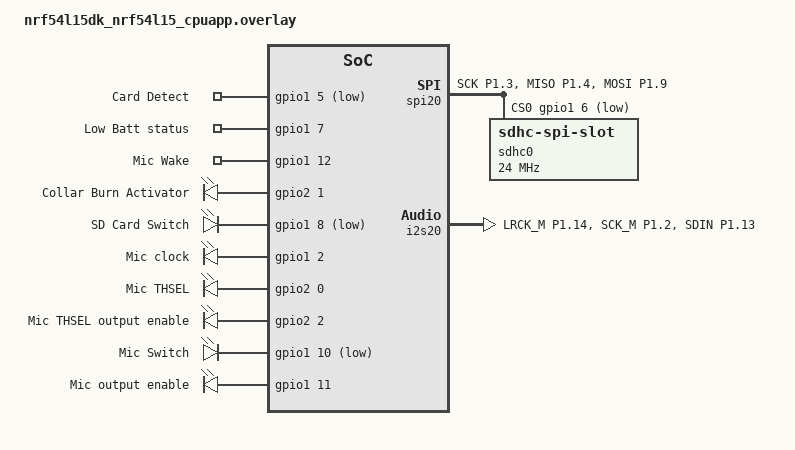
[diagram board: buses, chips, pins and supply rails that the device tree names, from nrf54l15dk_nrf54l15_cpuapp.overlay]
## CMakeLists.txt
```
# SPDX-License-Identifier: Apache-2.0

cmake_minimum_required(VERSION 3.20.0)

# set(LIB_DIR ${CMAKE_CURRENT_SOURCE_DIR}/packages/lib)

find_package(Zephyr REQUIRED HINTS $ENV{ZEPHYR_BASE})
project(nrf_monkey)

# defining some environmental variables
if(CMAKE_HOST_SYSTEM MATCHES "Linux")
    message("==========  Linux   =========")
elseif(CMAKE_HOST_SYSTEM MATCHES "Darwin")
    message("==========  APPLE  =========")
elseif(CMAKE_HOST_SYSTEM MATCHES "Windows")
    message("========== Windows =========")
endif()

# Source code
target_sources(app PRIVATE src/main.c)
target_sources(app PRIVATE src/hal/gpio_hal.c)
target_sources(app PRIVATE src/utils/tools.c)
target_sources(app PRIVATE src/storage/flash.c)
target_sources(app PRIVATE src/ble/sig_dis.c)
target_sources(app PRIVATE src/microphone/t5848.c)
# target_sources(app PRIVATE src/storage/nvs_flash.c)
target_sources_ifdef(CONFIG_FILE_SYSTEM app PRIVATE src/fatfs/sdcard.c)
target_sources_ifdef(CONFIG_I2S app PRIVATE src/audio/recorder.c)
target_sources_ifdef(CONFIG_BT app PRIVATE src/ble/ble_handler.c)
target_sources_ifdef(CONFIG_BT_SNES_SRV app PRIVATE src/ble/snes.c)
target_sources_ifdef(CONFIG_BT_CTS_CLIENT app PRIVATE src/ble/sig_cts.c)
target_sources_ifdef(CONFIG_BT_PROXIMITY_MONITORING app PRIVATE src/ble/ble_proximity.c)
```

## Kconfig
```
menu "nRF-Monkey"

# I2S related
config I2S_SAMPLE_FREQUENCY
    int "I2S Sampling Frequency"
    default 16000

config I2S_SAMPLE_FREQUENCY_DIVIDER
    int "I2S Sampling Frequency Divider"
    default 10

config I2S_SAMPLE_BIT_WIDTH
    int "I2S Sample BIT width"
    default 24

config I2S_BYTES_PER_SAMPLE
    int "I2S Bytes per Sample"
    default 4

config I2S_NUMBER_OF_CHANNELS
    int "Number of channel"
    default 1

config I2S_INITIAL_BLOCKS
    int "Number of initial blocks"
    default 2

config I2S_TIMEOUT
    int "I2S timeout [ms]"
    default 1000

config I2S_MIC_INPUT_GAIN
    int "Input gain"
    default 1

config I2S_MIC_INPUT_DIVIDER
    int "Input gain divier"
    default 1

config I2S_RECORD_AUTO_START
    bool "Start to record automatically at boot time"
    default y

# Microphone related
# AAD A configuration
config MIC_AAD_A_SELECT
    hex "AAD A select mode"
    default 0x08

config MIC_AAD_A_LPF
    hex "AAD A Low Pass Filter"
    default 0x02

config MIC_AAD_A_TH
    hex "AAD A Threshold"
    default 0x0A

# AAD D configuration
config MIC_AAD_D_SELECT
    hex "AAD D Select Mode"
    default 0x01

config MIC_AAD_D_ALGO_SEL
    hex "AAD D Algorithm Selection"
    default 0x03

config MIC_AAD_D_FLOOR
    hex "AAD D Noise Floor"
    default 0xA0

config MIC_AAD_D_REL_PULSE_MIN
    hex "AAD D Relative Pulse Min"
    default 0xC8

config MIC_AAD_D_ABS_PULSE_MIN
    hex "AAD D Absolute Pulse Min"
    default 0x7D0

config MIC_AAD_D_REL_TH
    hex "AAD D Relative Threshold"
    default 0x8F

config MIC_AAD_D_ABS_TH
    hex "AAD D Absolute Threshold"
    default 0x1E0

config MIC_RECORDING_TAIL_MSEC
    int "Microphone recording tail in [ms]"
    default 10000

# SD Card storage related
config STORAGE_SAMPLE_BIT_WIDTH
    int "Sample BIT width for storage"
	default 16

config STORAGE_BYTES_PER_SAMPLE
    int "Bytes used per Sample for storage"
	default 3

config STORAGE_CD_DEBOUNCE_MS
    int "Deboucer delay in [ms]"
    default 30

config STORAGE_TIME_DIFF_THRESHOLD
    int "Difference in second to open a new file"
    default 3600

config STORAGE_MOUNT_POINT
    string "Name of the Fatfs mount point"
    default "/SD:"

config STORAGE_DISK_POINTER_NAME
    string "Fatfs disk pointer name"
    default "SD"

config RECORDER_STORAGE_FILE_NAME
    string "Name of the file where the audio samples are stored"
    default "rec"

config PROXIMITY_STORAGE_FILE_NAME
    string "Name of the file where the proximity samples are stored"
    default "prox"

config STORAGE_FILE_EXTENSION
    string "Extension of the file name"
    default "dat"

config STORAGE_LIST_FILES_ON_CARD
    bool "Will list all files and folders on SD Card when mounted"
    default n

config STORAGE_USE_SDHC_NODE_FEATURE
    bool "Try to use fatfs functionality for SD Card detection"
    default n


#BLE GAP CONFIGURATION
config BT_MIN_CONN_INTERVAL
    int "Minimum Connection Interval (N * 1.25 ms)"
    default 495

config BT_MAX_CONN_INTERVAL
    int "Maximum Connection Interval (N * 1.25 ms)"
    default 750

config BT_SLAVE_LATENCY
    int "Connection Latency"
    default 0

config BT_SUPERVISION_TIMEOUT
    int "Supervision Timeout (N * 10 ms)"
    default 4

# BLE
config BT_SNES_SRV
    bool "BLE Hei Sync Service"
    default n
    help
      Enable HEI Sync service.

config BT_ADV_SNES_SRV_UUID
    bool "SNES UUID in scan response"
    default n

config BT_SNES_AUTHEN
    bool "Require encryption and authentication for access"
    depends on BT_SMP
    help
      Enable encrypted and authenticated connection requirements for HEI Sync service.

config BT_SNES_THREAD_STACK_SIZE
	int "Thread stack size"
	default 1024
	help
	  Stack size used in each of the two threads

config BT_SECURITY_USE_PASSKEY
	bool "Security uses passkey"
	default n

config BT_SNES_BUFFER_SIZE
    int "Buffer size to receive data"
    default 244

config BT_USE_USER_DESCRIPTION
    bool "Adding user description to characteristic"
    default n

config BT_ADV_INTERVAL_MS
    int "BLE Advertising interval in [ms]"
    default 300

# BLE
config BT_PROXIMITY_MONITORING
    bool "Enable proximity monitoring service"
    default y
    
config BT_SCAN_INTERVAL_MS
    int "BLE Scan interval in [ms]"
    depends on BT_PROXIMITY_MONITORING
    default 60000

config BT_SCAN_WINDOW_MS
    int "BLE Scan window in [ms]"
    depends on BT_PROXIMITY_MONITORING
    default 1400

config BT_PROXIMITY_ENABLE_AUDIO_SAVING
    bool "Enable audio saving when a device is detected"
    depends on BT_PROXIMITY_MONITORING
    default n

config BT_PROXIMITY_ENABLE_AUDIO_RSSI_MIN
    int "Minimum RSSI to enable audio saving"
    depends on BT_PROXIMITY_MONITORING
    default -50

config BT_PROXIMITY_STORAGE_BUFFER_SIZE
    int "Number of entries in proximity storage buffer"
    depends on BT_PROXIMITY_MONITORING
    default 512

config BT_PROXIMITY_FLUSH_TIMEOUT_MIN
    int "Timeout in [min] to flush proximity data to SD card"
    depends on BT_PROXIMITY_MONITORING
    default 10

# General configuration
config HOT_RESET_VAL
    int "Hot Reset delault value 0xa5"
    default 165

config GENERIC_GPIO_DEBOUNCE_MS
    int "Debouncer delay in [ms]"
    default 30

config LOW_BATT_GPIO_DEBOUNCE_MS
    int "Debouncer delay for low batt GPIO in [ms]"
    default 2000

config COLLAR_BURN_DELAY_IN_SEC
    int "Delay in sec for burning the nylon wire"
    default 5

config COMPILE_FOR_MONKEY_PCB
    bool "If it's for the dedicated Monkey PCB"
    default n

config START_UP_DELAY_MS
    int "Waiting time in [ms] at sart up"
    default 1500

config MAIN_THREAD_INITIALIZED_DELAY_MS
    int "Sleep polling delay waiting for main thread initialized in [ms]"
    default 100

config DELAY_ON_HARDWARE_POWERED_ON
    int "Delay to be sure that all threads have detected the power on hardware, in [ms]"
    default 2000

config DEVICE_IDENTIFIER_FROM_NVS
    bool "Getting the device identitifer from flash memory"
    default n

# DEBUG level settings
config BLE_LOG_LEVEL
    int "Default LOG level for BLE stuff"
    default 1

config BLE_PROXIMITY_LOG_LEVEL
    int "Default LOG level for BLE proximity monitoring"
    default 1

config BT_SNES_LOG_LEVEL
    int "Default LOG level for BLE HSS Private service"
    default 1

config BT_CTS_LOG_LEVEL
    int "Default LOG level for SIG CTS service (Time Service)"
    default 1

# config BT_DIS_LOG_LEVEL
#     int "Default LOG level for SIG DIS service (Device Information Service)"
#     default 1

config SD_CARD_LOG_LEVEL
    int "Default LOG level for SD CArd and FATfs"
    default 1

config RECORDER_LOG_LEVEL
    int "Default LOG level for recorder and I2S"
    default 1

config GPIO_HAL_LOG_LEVEL
    int "Default LOG level for HAL gpio"
    default 1

config MAIN_LOG_LEVEL
    int "Default LOG level for main entry point"
    default 1

config FLASH_LOG_LEVEL
    int  "Default LOG level for flash storage"
    default 1

config TOOLS_LOG_LEVEL
    int  "Default LOG level for tools library"
    default 1

config T5848_LOG_LEVEL
    int  "Default LOG level for T5848 microphone"
    default 1

endmenu

menu "Zephyr Kernel"
source "Kconfig.zephyr"
endmenu
```

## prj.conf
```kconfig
#sdcard - SDMMC
# CONFIG_DISK_DRIVER_SDMMC=y
CONFIG_DISK_ACCESS=y
CONFIG_FILE_SYSTEM=y
CONFIG_FAT_FILESYSTEM_ELM=y
CONFIG_SDHC=y
CONFIG_FS_FATFS_HAS_RTC=y

# GPIO's related
CONFIG_GPIO=y

# Lib c
CONFIG_NEWLIB_LIBC=n
CONFIG_MINIMAL_LIBC=y
CONFIG_POSIX_API=y
CONFIG_POSIX_CLOCK=y

CONFIG_CBPRINTF_FP_SUPPORT=y

# Stack and Heap - Not used for this project
# CONFIG_MAIN_STACK_SIZE=16384
# CONFIG_MAIN_STACK_SIZE=24576
#CONFIG_HEAP_MEM_POOL_SIZE=8192
CONFIG_HEAP_MEM_POOL_SIZE=4096
# CONFIG_NEWLIB_LIBC_MIN_REQUIRED_HEAP_SIZE=2048

# I2S interface
CONFIG_I2S=y
CONFIG_I2S_SAMPLE_FREQUENCY=16000
CONFIG_I2S_MIC_INPUT_GAIN=3
CONFIG_I2S_MIC_INPUT_DIVIDER=2
CONFIG_STORAGE_BYTES_PER_SAMPLE=2
CONFIG_I2S_RECORD_AUTO_START=y

# Microphone config
CONFIG_MIC_AAD_A_LPF=0x02
CONFIG_MIC_AAD_A_TH=0x0A
CONFIG_MIC_AAD_D_ALGO_SEL=0x03
CONFIG_MIC_AAD_D_FLOOR=0xA0
CONFIG_MIC_AAD_D_REL_PULSE_MIN=0xC8
CONFIG_MIC_AAD_D_ABS_PULSE_MIN=0x7D0
CONFIG_MIC_AAD_D_REL_TH=0x8F
CONFIG_MIC_AAD_D_ABS_TH=0x1E0
CONFIG_MIC_RECORDING_TAIL_MSEC=10000



# SD Card
# CONFIG_STORAGE_TIME_DIFF_THRESHOLD=600
# CONFIG_STORAGE_FILE_NAME="test"

# BLE Configuration
CONFIG_BT=y
CONFIG_BT_PERIPHERAL=y
CONFIG_BT_CENTRAL=y
CONFIG_BT_COMPANY_ID=0x025A
CONFIG_BT_DEVICE_NAME="Speak No Evil 53"
CONFIG_BT_DEVICE_NAME_DYNAMIC=y
CONFIG_BT_DEVICE_NAME_MAX=18
CONFIG_BT_DEVICE_APPEARANCE=128
# CONFIG_BT_USE_USER_DESCRIPTION=y
CONFIG_BT_MAX_CONN=1
CONFIG_BT_MAX_PAIRED=1

CONFIG_BT_SMP=n
CONFIG_BT_GATT_CLIENT=y
CONFIG_BT_GATT_DM=y
CONFIG_BT_GATT_DM_DATA_PRINT=n

CONFIG_BT_SCAN=y
CONFIG_BT_SCAN_FILTER_ENABLE=y
CONFIG_BT_SCAN_MANUFACTURER_DATA_CNT=1

# BLE proximity monitoring
CONFIG_BT_PROXIMITY_MONITORING=y
CONFIG_BT_SCAN_WINDOW_MS=1400
CONFIG_BT_SCAN_INTERVAL_MS=60000
CONFIG_BT_ADV_INTERVAL_MS=300
CONFIG_BT_PROXIMITY_ENABLE_AUDIO_SAVING=n
CONFIG_BT_PROXIMITY_ENABLE_AUDIO_RSSI_MIN=-50

# Enable bonding
CONFIG_BT_SETTINGS=y
CONFIG_FLASH=y
CONFIG_FLASH_PAGE_LAYOUT=y
CONFIG_FLASH_MAP=y
CONFIG_NVS=y
CONFIG_SETTINGS=y
CONFIG_SETTINGS_NVS=y
# CONFIG_SETTINGS_NVS_SECTOR_COUNT=8
# CONFIG_PARTITION_MANAGER_ENABLED=y

# BT DEBUG
# CONFIG_BT_DEBUG_LOG=y

# Enable CTS client
# CONFIG_BT_CTS_CLIENT=n

# SNES Private Service
CONFIG_BT_SNES_SRV=y
CONFIG_BT_SNES_THREAD_STACK_SIZE=4096
# CONFIG_BT_SNES_BUFFER_SIZE=244
# CONFIG_NVS=y

# DIS - Device Information Service (Adopted SIG)

CONFIG_BT_DIS=y
CONFIG_BT_DIS_PNP=n
CONFIG_BT_DIS_MODEL="Speak No Evil"
CONFIG_BT_DIS_MANUF="HEI, Sion"
CONFIG_BT_DIS_SERIAL_NUMBER=n
CONFIG_BT_DIS_FW_REV=y
CONFIG_BT_DIS_HW_REV=y
CONFIG_BT_DIS_SW_REV=n
# CONFIG_BT_DIS_SERIAL_NUMBER_STR="Zephyr Serial"
# CONFIG_BT_DIS_FW_REV_STR="Zephyr Firmware"
# CONFIG_BT_DIS_HW_REV_STR="Zephyr Hardware"
# CONFIG_BT_DIS_SW_REV_STR="Zephyr Software"

# Below is setup to let DIS information be read from settings
CONFIG_SETTINGS_RUNTIME=y
CONFIG_SETTINGS_NONE=y

CONFIG_BT_DIS_SETTINGS=y
# CONFIG_BT_DIS_STR_MAX=21

# Power mamangement
CONFIG_PM=y
CONFIG_PM_DEVICE=y

# Monkey Collar
# CONFIG_COLLAR_BURN_DELAY_IN_SEC=2

# Using Monkey PCB Hardware
CONFIG_COMPILE_FOR_MONKEY_PCB=y

# List all files and folder on SD Card
# CONFIG_STORAGE_LIST_FILES_ON_CARD=y

# NFC Pins as GPIOs
CONFIG_NFCT_PINS_AS_GPIOS=y
# CONFIG_NFC_NDEF=n

# Debounce default delay
# CONFIG_GENERIC_GPIO_DEBOUNCE_MS=2000

# Debounce specific delay for Low Batt detection
CONFIG_LOW_BATT_GPIO_DEBOUNCE_MS=11000

# Delay to be sure that all threads have detected the power on hardware, in [ms]
CONFIG_DELAY_ON_HARDWARE_POWERED_ON=1000

# Dynamic PinCtrl configuration
# CONFIG_PINCTRL_DYNAMIC=y

# The device identifier (used in advertised name) is readen from FLASH memory
CONFIG_DEVICE_IDENTIFIER_FROM_NVS=y


# ********************************************** #
# DEBUG settings - Change CONFIG_below to y to activate DEBUG
# ********************************************** #
CONFIG_DEBUG=n
CONFIG_DEBUG_THREAD_INFO=n
CONFIG_DEBUG_OPTIMIZATIONS=n
# CONFIG_DEBUG_INFO=y
# CONFIG_DEBUG_COREDUMP=n
# CONFIG_DEBUG_COREDUMP_MEMORY_DUMP_MIN=y
# CONFIG_DEBUG_COREDUMP_MEMORY_DUMP_LINKER_RAM=n


# ********************************************** #
# Zephyr/nrf log configuration                   #
# 0 -> off, 1 -> err, 2 ->wrn, 3 -> inf, 4 ->dbg #
# ********************************************** #
# DEBUG LOG LEVEL
CONFIG_BLE_LOG_LEVEL=3
CONFIG_BLE_PROXIMITY_LOG_LEVEL=3
CONFIG_BT_SNES_LOG_LEVEL=2
CONFIG_BT_CTS_LOG_LEVEL=2
CONFIG_SD_CARD_LOG_LEVEL=3
CONFIG_RECORDER_LOG_LEVEL=3
CONFIG_GPIO_HAL_LOG_LEVEL=2
CONFIG_MAIN_LOG_LEVEL=3
CONFIG_FLASH_LOG_LEVEL=3
CONFIG_T5848_LOG_LEVEL=3

# Enable/Disable LOG trace
CONFIG_LOG=n
CONFIG_CONSOLE=n
CONFIG_PRINTK=n

CONFIG_LOG_BACKEND_SHOW_COLOR=y
CONFIG_LOG_INFO_COLOR_GREEN=y
CONFIG_LOG_MODE_DEFERRED=y
# CONFIG_LOG_MODE_OVERFLOW=y
CONFIG_LOG_BUFFER_SIZE=8192


# RTT logging
# To enable RTT Logging, set CONFIG_RTT_CONSOLE to y and to n to disable it
CONFIG_RTT_CONSOLE=n
CONFIG_USE_SEGGER_RTT=n
CONFIG_LOG_BACKEND_RTT=n


CONFIG_SEGGER_RTT_BUFFER_SIZE_DOWN=64
CONFIG_SEGGER_RTT_MAX_NUM_DOWN_BUFFERS=2
CONFIG_SEGGER_RTT_BUFFER_SIZE_UP=8192
CONFIG_SEGGER_RTT_MAX_NUM_UP_BUFFERS=2

# UART Logging definitions
# To enable UART Logging, set both CONFIG_SERIAL & CONFIG_UART_CONSOLE to y
CONFIG_UART_CONSOLE=n
CONFIG_LOG_BACKEND_UART=n

# Bootloader settings
CONFIG_BOOTLOADER_MCUBOOT=n

CONFIG_SPI_NOR=n
CONFIG_SPI_NOR_SFDP_DEVICETREE=n
CONFIG_SPI_NOR_SFDP_RUNTIME=n

CONFIG_FLASH=y
CONFIG_SOC_FLASH_NRF_RRAM=y
```

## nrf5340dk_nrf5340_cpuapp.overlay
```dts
// To get started, press Ctrl+Space (or Option+Esc) to bring up the completion menu and view the available nodes.

// You can also use the buttons in the sidebar to perform actions on nodes.
// Actions currently available include:

// * Enabling / disabling the node
// * Adding the bus to a bus
// * Removing the node
// * Connecting ADC channels

// For more help, browse the DeviceTree documentation at https://docs.zephyrproject.org/latest/guides/dts/index.html
// You can also visit the nRF DeviceTree extension documentation at https://nrfconnect.github.io/vscode-nrf-connect/devicetree/nrfdevicetree.html


// ---------- Disable unused hardware ----------
&button0 {
	status = "disabled";
};
&button1 {
	status = "disabled";
};
&button2 {
	status = "disabled";
};
&button3 {
	status = "disabled";
};

&led0 {
	status = "disabled";
};
&led1 {
	status = "disabled";
};
&led2 {
	status = "disabled";
};
&led3 {
	status = "disabled";
};

&pwm_led0 {
	status = "disabled";
};


&gpio_fwd {
	uart {
		status = "disabled";
	};
	status = "disabled";
};


&adc {
	status = "disabled";
};

&gpiote {
	status = "disabled";
};

&i2c1 {
	status = "disabled";
};

&uart0 {
	status = "disabled";
};

&uart1 {
	status = "disabled";
};

&ieee802154 {
	status = "disabled";
};

&pwm0 {
	status = "disabled";
};

&qspi {
	status = "disabled";
};

&timer0 {
	status = "disabled";
};

&timer1 {
	status = "disabled";
};

&timer2 {
	status = "disabled";
};

&usbd {
	status = "disabled";
};


// ---------- Define GPIOs & Hardware used ----------
&pinctrl {

	// ----- pinctrl for PCA10095 board (nRF5340 DK) -----
    // spi4_default: spi4_default {
    //     group1 {
    //         psels = <NRF_PSEL(SPIM_SCK,  1, 12)>,
    //                 <NRF_PSEL(SPIM_MISO, 1, 13)>,
    //                 <NRF_PSEL(SPIM_MOSI, 1, 11)>;
    //     };
    // };

	// spi4_sleep: spi4_sleep {
	// 	group1 {
    //         psels = <NRF_PSEL(SPIM_SCK,  1, 12)>,
    //                 <NRF_PSEL(SPIM_MISO, 1, 13)>,
    //                 <NRF_PSEL(SPIM_MOSI, 1, 11)>;
	// 		low-power-enable;
	// 	};
	// };

	// ----- pinctrl for Monkey PCB -----
    spi4_default: spi4_default {
        group1 {
            psels = <NRF_PSEL(SPIM_SCK,  1, 6)>,
                    <NRF_PSEL(SPIM_MISO, 0, 26)>,
                    <NRF_PSEL(SPIM_MOSI, 1, 4)>;
        };
    };

	spi4_sleep: spi4_sleep {
		group1 {
            psels = <NRF_PSEL(SPIM_SCK,  1, 6)>,
                    <NRF_PSEL(SPIM_MISO, 0, 26)>,
                    <NRF_PSEL(SPIM_MOSI, 1, 4)>;
			low-power-enable;
		};
	};

	// ----- pinctrl for PCA10095 board (nRF5340 DK) -----
	// i2s0_default: i2s0_default {
	// 	group1 {
	// 		psels = <NRF_PSEL(I2S_SCK_M,  1, 2)>,
	// 				<NRF_PSEL(I2S_LRCK_M, 0, 6)>,
	// 				<NRF_PSEL(I2S_SDIN,   0, 5)>,
	// 				<NRF_PSEL(I2S_SDOUT,  0, 25)>;
	// 	};
	// };

	// i2s0_sleep: i2s0_sleep {
	// 	group1 {
	// 		psels =	<NRF_PSEL(I2S_SCK_M,  1, 2)>,
	// 				<NRF_PSEL(I2S_LRCK_M, 0, 6)>,
	// 				<NRF_PSEL(I2S_SDIN,   0, 5)>,
	// 				<NRF_PSEL(I2S_SDOUT,  0, 25)>;
	// 		low-power-enable;
	// 	};
	// };

	// ----- pinctrl for Monkey PCB -----
	i2s0_default: i2s0_default {
		group1 {
			psels = <NRF_PSEL(I2S_SCK_M,  1, 2)>,
					<NRF_PSEL(I2S_LRCK_M, 0, 2)>,
					<NRF_PSEL(I2S_SDIN,   0, 3)>;
					// <NRF_PSEL(I2S_SDOUT,  0, 25)>;
		};
	};

	i2s0_sleep: i2s0_sleep {
		group1 {
			psels =	<NRF_PSEL(I2S_SCK_M,  1, 2)>,
					<NRF_PSEL(I2S_LRCK_M, 0, 2)>,
					<NRF_PSEL(I2S_SDIN,   0, 3)>;
			// 		<NRF_PSEL(I2S_SDOUT,  0, 25)>;
			low-power-enable;
		};
	};
};

&spi4 {
    // compatible = "nordic,nrf-spim";
    status = "okay";

	// ----- pinctrl for PCA10095 board (nRF5340 DK) -----
    // cs-gpios = <&gpio1 10 GPIO_ACTIVE_LOW>;

	// ----- pinctrl for Monkey PCB -----
    cs-gpios = <&gpio0 19 GPIO_ACTIVE_LOW>;

	pinctrl-0 = <&spi4_default>;
    pinctrl-1 = <&spi4_sleep>;

    sdhc0: sdhc@0 {
        compatible = "zephyr,sdhc-spi-slot";
        reg = <0>;
        status = "okay";
        mmc {
            compatible = "zephyr,sdmmc-disk";
            status = "okay";
        };
        spi-max-frequency = <24000000>;
    };
};

&clock {
	hfclkaudio-frequency = <11289600>;
};

&flash0 {
	partitions {
		compatible = "fixed-partitions";
		#address-cells = <1>;
		#size-cells = <1>;

		/* 0xf0000 to 0xf7fff reserved for TF-M partitions */
		storage_partition: partition@f8000 {
			label = "storage";
			reg = <0x000f8000 0x00006000>;
		};
		user_partition: partition@fe000 {
			label = "user_storage";
			reg = <0x000fe000 0x00002000>;
		};
	};
};

i2s_rxtx: &i2s0 {
	compatible = "nordic,nrf-i2s";
	status = "okay";
	pinctrl-0 = <&i2s0_default>;
	pinctrl-1 = <&i2s0_sleep>;
	pinctrl-names = "default", "sleep";
	clock-source = "ACLK";
};

/ {
	monkey_gpios {
		compatible = "gpio-keys";
		
		// ----- pinctrl for PCA10095 board (nRF5340 DK) -----
		// cd: cd_0 {
		// 	gpios = <&gpio1 15 GPIO_ACTIVE_LOW>;
		// 	label = "Card Detect";
		// };

		// lb: low_batt_0 {
		// 	gpios = <&gpio1  9 (GPIO_ACTIVE_LOW)>;
		// 	label = "Low Batt status";
		// };

		// bc: burn_collar_0 {
		// 	gpios = <&gpio1  8 GPIO_ACTIVE_HIGH>;
		// 	label = "Collar Burn Activator";
		// };

		// sm: sd_mic_enable_0 {
		// 	gpios = <&gpio1  7 GPIO_ACTIVE_LOW>;
		// 	label = "SD Card & Mic Switch";
		// };

		// sel: i2s_sel_0 {
		// 	gpios = <&gpio0  7 GPIO_ACTIVE_HIGH>;
		// 	label = "I2S SEL Pin";
		// };

		// ----- pinctrl for Monkey PCB -----
		cd: cd_0 {
			gpios = <&gpio0 24 GPIO_ACTIVE_LOW>;
			label = "Card Detect";
		};

		lb: low_batt_0 {
			gpios = <&gpio1 13 GPIO_ACTIVE_HIGH>;
			label = "Low Batt status";
		};

		bc: burn_collar_0 {
			gpios = <&gpio0 21 GPIO_ACTIVE_HIGH>;
			label = "Collar Burn Activator";
		};

		sm: sd_mic_enable_0 {
			gpios = <&gpio0 16 GPIO_ACTIVE_LOW>;
			label = "SD Card & Mic Switch";
		};
	};

	aliases {
		cd0  = &cd;
		lb0  = &lb;
		bc0  = &bc;
		sm0  = &sm;
		// sel0 = &sel;
	};
};
```

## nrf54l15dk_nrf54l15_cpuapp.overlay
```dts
// To get started, press Ctrl+Space (or Option+Esc) to bring up the completion menu and view the available nodes.

// You can also use the buttons in the sidebar to perform actions on nodes.
// Actions currently available include:

// * Enabling / disabling the node
// * Adding the bus to a bus
// * Removing the node
// * Connecting ADC channels

// For more help, browse the DeviceTree documentation at https://docs.zephyrproject.org/latest/guides/dts/index.html
// You can also visit the nRF DeviceTree extension documentation at https://nrfconnect.github.io/vscode-nrf-connect/devicetree/nrfdevicetree.html


// ---------- Disable unused hardware ----------
&button0 {
	status = "disabled";
};
&button1 {
	status = "disabled";
};
&button2 {
	status = "disabled";
};
&button3 {
	status = "disabled";
};

&led0 {
	status = "disabled";
};
&led1 {
	status = "disabled";
};
&led2 {
	status = "disabled";
};
&led3 {
	status = "disabled";
};

&pwm_led1 {
	status = "disabled";
};

&adc {
	status = "disabled";
};

&i2c20 {
	status = "disabled";
};

&i2c21 {
	status = "disabled";
};

&uart20 {
	status = "disabled";
};

&uart30 {
	status = "disabled";
};

&ieee802154 {
	status = "disabled";
};

&pwm20 {
	status = "disabled";
};

&timer00 {
	status = "disabled";
};

&timer10 {
	status = "disabled";
};

&timer20 {
	status = "disabled";
};

&nfct {
    status = "disabled";
};

// ---------- Enable hardware ----------
&uicr {
    nfct-pins-as-gpios;
}; 

&gpio1 {
    status = "okay";
};

&gpio2 {
    status = "okay";
};

// ---------- Define GPIOs & Hardware used ----------
// SPI (SD card)
&spi20 {
    status = "okay";
    compatible = "nordic,nrf-spim";
    pinctrl-0 = <&spi20_default>;
    pinctrl-1 = <&spi20_sleep>;
    pinctrl-names = "default", "sleep";
    cs-gpios = <&gpio1 6 GPIO_ACTIVE_LOW>; // SD_nCS
	sdhc0: sdhc@0 {
		compatible = "zephyr,sdhc-spi-slot";
		reg = <0>;
		status = "okay";
		mmc {
			compatible = "zephyr,sdmmc-disk";
			disk-name = "SD";
			status = "okay";
		};
		spi-max-frequency = <24000000>;
	};
};

// I2s (microphone)
i2s_rxtx: &i2s20 {
	compatible = "nordic,nrf-i2s";
	status = "okay";
	pinctrl-0 = <&i2s20_default>;
	pinctrl-1 = <&i2s20_sleep>;
	pinctrl-names = "default", "sleep";
};

&pinctrl {

	// ----- pinctrl for PCA10156 board (nRF54L15-DK) -----
	// spi20_default: spi20_default {
    //     group1 {
    //         psels = <NRF_PSEL(SPIM_SCK,  1, 4)>,
    //                 <NRF_PSEL(SPIM_MOSI, 1, 3)>,
    //                 <NRF_PSEL(SPIM_MISO, 1, 5)>;
    //     };
    // };

    // spi20_sleep: spi20_sleep {
    //     group1 {
    //         psels = <NRF_PSEL(SPIM_SCK,  1, 4)>,
    //                 <NRF_PSEL(SPIM_MOSI, 1, 3)>,
    //                 <NRF_PSEL(SPIM_MISO, 1, 5)>;
    //         low-power-enable;
    //     };
    // };

	// ----- pinctrl for Monkey PCB -----
	spi20_default: spi20_default {
        group1 {
            psels = <NRF_PSEL(SPIM_SCK,  1, 3)>,	// SD_SCK
                    <NRF_PSEL(SPIM_MISO, 1, 4)>,	// SD_MISO
					<NRF_PSEL(SPIM_MOSI, 1, 9)>;	// SD_MOSI
        };
    };

    spi20_sleep: spi20_sleep {
        group1 {
            psels = <NRF_PSEL(SPIM_SCK,  1, 3)>,	// SD_SCK
                    <NRF_PSEL(SPIM_MISO, 1, 4)>,	// SD_MISO
					<NRF_PSEL(SPIM_MOSI, 1, 9)>;	// SD_MOSI
            low-power-enable;
        };
    };

	// ----- pinctrl for PCA10156 board (nRF54L15-DK) -----
	// i2s20_default: i2s20_default {
    //     group1 {
    //         psels = <NRF_PSEL(I2S_LRCK_M, 1, 11)>,
    //                 <NRF_PSEL(I2S_SCK_M, 1, 12)>,
    //                 <NRF_PSEL(I2S_SDOUT, 2, 0)>,
    //                 <NRF_PSEL(I2S_SDIN, 1, 13)>; 
                    
    //     };
    // };

	// i2s20_sleep: i2s20_sleep {
	// 	group1 {
    //         psels = <NRF_PSEL(I2S_LRCK_M, 1, 11)>,
    //                 <NRF_PSEL(I2S_SCK_M, 1, 12)>,
    //                 <NRF_PSEL(I2S_SDOUT, 2, 0)>,
    //                 <NRF_PSEL(I2S_SDIN, 1, 13)>; 
	// 		low-power-enable;
	// 	};
	// };

	// ----- pinctrl for Monkey PCB -----
	i2s20_default: i2s20_default {
        group1 {
            psels = <NRF_PSEL(I2S_LRCK_M, 1, 14)>,	// MIC_WS
                    <NRF_PSEL(I2S_SCK_M, 1, 2)>,	// MIC_SCK  (for data transfer)
                    <NRF_PSEL(I2S_SDIN, 1, 13)>; 	// MIC_SDIN
                    
        };
    };

	i2s20_sleep: i2s20_sleep {
		group1 {
            psels = <NRF_PSEL(I2S_LRCK_M, 1, 14)>,	// MIC_WS
                    <NRF_PSEL(I2S_SCK_M, 1, 2)>,	// MIC_SCK  (for data transfer)
                    <NRF_PSEL(I2S_SDIN, 1, 13)>; 	// MIC_SDIN
			low-power-enable;
		};
	};
};

/ {
	// Inputs
	monkey_inputs {
		compatible = "gpio-keys";
		
		// ----- pinctrl for PCA10156 board (nRF54L15-DK) -----
		// cd: cd_0 {
		// 	gpios = <&gpio1 7 GPIO_ACTIVE_LOW>;
		// 	label = "Card Detect";
		// };

		// lb: low_batt_0 {
		// 	gpios = <&gpio1 13 GPIO_ACTIVE_HIGH>;
		// 	label = "Low Batt status";
		// };

		// wake: wake_0 {
        //     gpios = <&gpio1 14 GPIO_ACTIVE_HIGH>;
        //     label = "Mic Wake";
        // };

		// ----- pinctrl for Monkey PCB -----
		cd: cd_0 {
			gpios = <&gpio1 5 GPIO_ACTIVE_LOW>;		// SD_CD
			label = "Card Detect";
		};

		lb: low_batt_0 {
			gpios = <&gpio1 7 GPIO_ACTIVE_HIGH>;	// LOW_BATT
			label = "Low Batt status";
		};

		wake: wake_0 {
            gpios = <&gpio1 12 GPIO_ACTIVE_HIGH>;	// MIC_WAKE
            label = "Mic Wake";
        };
	};

	// Outputs
	monkey_outputs {
		compatible = "gpio-leds";
		
		// ----- pinctrl for PCA10156 board (nRF54L15-DK) -----
		// bc: burn_collar_0 {
		// 	gpios = <&gpio0 4 GPIO_ACTIVE_HIGH>;
		// 	label = "Collar Burn Activator";
		// };

        // sd: sd_enable_0 {
        //     gpios = <&gpio1 2 GPIO_ACTIVE_LOW>;
        //     label = "SD Card Switch";
        // };

		// clk: clk_0 {
		// 	gpios = <&gpio1 12 GPIO_ACTIVE_HIGH>;
		// 	label = "Mic clock";
		// };

        // thsel: thsel_0 {
        //     gpios = <&gpio1 10 GPIO_ACTIVE_HIGH>;
        //     label = "Mic THSEL";
        // };

		// mic: mic_enable_0 {
        //     gpios = <&gpio1 8 GPIO_ACTIVE_LOW>;
        //     label = "Mic Switch";
        // };

		// oe: mic_oe_0 {
        //     gpios = <&gpio1 9 GPIO_ACTIVE_HIGH>;
        //     label = "Mic output enable";
        // };

		// ----- pinctrl for Monkey PCB -----
		bc: burn_collar_0 {
			gpios = <&gpio2 1 GPIO_ACTIVE_HIGH>;	// BURN
			label = "Collar Burn Activator";
		};

        sd: sd_enable_0 {
            gpios = <&gpio1 8 GPIO_ACTIVE_LOW>;		// SD_EN
            label = "SD Card Switch";
        };

		clk: clk_0 {
			gpios = <&gpio1 2 GPIO_ACTIVE_HIGH>;	// MIC_CLK (for config)	
			label = "Mic clock";
		};

        thsel: thsel_0 {
            gpios = <&gpio2 0 GPIO_ACTIVE_HIGH>;	// MIC_THSEL
            label = "Mic THSEL";
        };

		thseloe: thsel_oe_0 {
            gpios = <&gpio2 2 GPIO_ACTIVE_HIGH>;	// MIC_OE_THSEL
            label = "Mic THSEL output enable";
        };

		mic: mic_enable_0 {
            gpios = <&gpio1 10 GPIO_ACTIVE_LOW>;	// MIC_EN
            label = "Mic Switch";
        };

		oe: mic_oe_0 {
            gpios = <&gpio1 11 GPIO_ACTIVE_HIGH>;	// MIC_OE
            label = "Mic output enable";
        };
	};

	aliases {
		cd0  = &cd;
		lb0  = &lb;
		bc0  = &bc;
		sd0  = &sd;
		clk0 = &clk;
        thsel0 = &thsel;
		thseloe0 = &thseloe;
        wake0 = &wake;
		mic0 = &mic;
		oe0 = &oe;
	};
};

// Remove SPI00 node
/delete-node/ &{/pin-controller/spi00_default/group1/};

&spi00 {
    /delete-property/ cs-gpios;
    status = "disabled";
};
```

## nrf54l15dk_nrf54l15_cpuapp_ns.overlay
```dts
// To get started, press Ctrl+Space (or Option+Esc) to bring up the completion menu and view the available nodes.

// You can also use the buttons in the sidebar to perform actions on nodes.
// Actions currently available include:

// * Enabling / disabling the node
// * Adding the bus to a bus
// * Removing the node
// * Connecting ADC channels

// For more help, browse the DeviceTree documentation at https://docs.zephyrproject.org/latest/guides/dts/index.html
// You can also visit the nRF DeviceTree extension documentation at https://nrfconnect.github.io/vscode-nrf-connect/devicetree/nrfdevicetree.html


// ---------- Disable unused hardware ----------
&button0 {
	status = "disabled";
};
&button1 {
	status = "disabled";
};
&button2 {
	status = "disabled";
};
&button3 {
	status = "disabled";
};

&led0 {
	status = "disabled";
};
&led1 {
	status = "disabled";
};
&led2 {
	status = "disabled";
};
&led3 {
	status = "disabled";
};

&pwm_led1 {
	status = "disabled";
};

&adc {
	status = "disabled";
};

// &gpiote {
// 	status = "disabled";
// };

// TODO
&i2c20 {
	status = "disabled";
};

&i2c21 {
	status = "disabled";
};

&uart20 {
	status = "disabled";
};

&uart30 {
	status = "disabled";
};

&ieee802154 {
	status = "disabled";
};

&pwm20 {
	status = "disabled";
};

// &qspi {
// 	status = "disabled";
// };

&timer00 {
	status = "disabled";
};

&timer10 {
	status = "disabled";
};

&timer20 {
	status = "disabled";
};

// &usbd {
// 	status = "disabled";
// };


// ---------- Define GPIOs & Hardware used ----------
&pinctrl {

	// ----- pinctrl for Monkey PCB -----
	spi20_default: spi20_default {
        group1 {
            psels = <NRF_PSEL(SPIM_SCK,  1, 11)>,
                    <NRF_PSEL(SPIM_MOSI, 1, 12)>,
                    <NRF_PSEL(SPIM_MISO, 1, 10)>;
        };
    };

    spi20_sleep: spi20_sleep {
        group1 {
            psels = <NRF_PSEL(SPIM_SCK,  1, 11)>,
                    <NRF_PSEL(SPIM_MOSI, 1, 12)>,
                    <NRF_PSEL(SPIM_MISO, 1, 10)>;
            low-power-enable;
        };
    };

	// ----- pinctrl for Monkey PCB -----
	i2s20_default: i2s20_default {
        group1 {
            psels = <NRF_PSEL(I2S_LRCK_M, 1, 8)>,
                    <NRF_PSEL(I2S_SCK_M, 1, 6)>,
                    //<NRF_PSEL(I2S_SDOUT, 1, 9)>,
                    <NRF_PSEL(I2S_SDIN, 1, 5)>; 
                    
        };
    };

	i2s20_sleep: i2s20_sleep {
		group1 {
            psels = <NRF_PSEL(I2S_LRCK_M, 1, 8)>,
                    <NRF_PSEL(I2S_SCK_M, 1, 6)>,
                    //<NRF_PSEL(I2S_SDOUT, 1, 9)>,
                    <NRF_PSEL(I2S_SDIN, 1, 5)>; 
			low-power-enable;
		};
	};
};

&spi20 {
    status = "okay";
    compatible = "nordic,nrf-spim";
    pinctrl-0 = <&spi20_default>;
    pinctrl-1 = <&spi20_sleep>;
    pinctrl-names = "default", "sleep";
    cs-gpios = <&gpio1 13 GPIO_ACTIVE_LOW>; // P1.13 - SD_nCS
	sdhc0: sdhc@0 {
		compatible = "zephyr,sdhc-spi-slot";
		reg = <0>;
		status = "okay";
		mmc {
			compatible = "zephyr,sdmmc-disk";
			disk-name = "SD";
			status = "okay";
		};
		spi-max-frequency = <24000000>;
	};
};

// &clock {
// 	hfclkaudio-frequency = <11289600>;
// };

&cpuapp_rram {
    partitions {
        compatible = "fixed-partitions";
        #address-cells = <1>;
        #size-cells = <1>;
        
        /* Redefine storage to be smaller to make room */
        storage_partition: partition@15c000 {
            label = "storage";
            reg = <0x15c000 0x6000>;  /* Reduce from 36KB to 24KB */
        };
        
        user_partition: partition@162000 {
            label = "user_storage";
            reg = <0x162000 0x2000>;  /* 8KB at 0x162000 */
        };
    };
};


i2s_rxtx: &i2s20 {
	compatible = "nordic,nrf-i2s";
	status = "okay";
	pinctrl-0 = <&i2s20_default>;
	pinctrl-1 = <&i2s20_sleep>;
	pinctrl-names = "default", "sleep";
	//clock-source = "ACLK";
};

/ {
	monkey_gpios {
		compatible = "gpio-keys";
		
		// ----- pinctrl for PCA10156 board (nRF54L15-DK) -----
		// cd: cd_0 {
		// 	gpios = <&gpio1 7 GPIO_ACTIVE_LOW>;
		// 	label = "Card Detect";
		// };

		// sm: sd_mic_enable_0 {
		// 	gpios = <&gpio1 2 GPIO_ACTIVE_LOW>;
		// 	label = "SD Card Switch";
		// };


		// ----- pinctrl for Monkey PCB -----
		cd: cd_0 {
			gpios = <&gpio1 14 GPIO_ACTIVE_LOW>;
			label = "Card Detect";
		};

		lb: low_batt_0 {
			gpios = <&gpio1 13 GPIO_ACTIVE_HIGH>;
			label = "Low Batt status";
		};

		bc: burn_collar_0 {
			gpios = <&gpio0 4 GPIO_ACTIVE_HIGH>;
			label = "Collar Burn Activator";
		};

        sm: sd_mic_enable_0 {
            gpios = <&gpio1 2 GPIO_ACTIVE_LOW>;
            label = "SD Card Switch";
        };
	};

	aliases {
		cd0  = &cd;
		lb0  = &lb;
		bc0  = &bc;
		sm0  = &sm;
		// sel0 = &sel;
	};
};
```

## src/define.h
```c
/*
 * Copyright (c) 2023 HESSO-VS, HEI Sion
 */

#ifndef _MAIN_DEFINE_H_
#define _MAIN_DEFINE_H_

#include <zephyr/kernel.h>
#include <zephyr/drivers/gpio.h>
#include <zephyr/fs/fs.h>
#include <zephyr/posix/time.h>
#include <ff.h>

#include <stdio.h>

// Gpios & Hardware handling
#define LOW_BATT_NODE       			DT_ALIAS(lb0)
#define SD_ENABLE_NODE 					DT_ALIAS(sd0)
#define BURN_COLLAR_NODE				DT_ALIAS(bc0)
#define MIC_CLK_NODE                    DT_ALIAS(clk0)
#define MIC_THSEL_NODE                  DT_ALIAS(thsel0)
#define MIC_THSEL_OE_NODE               DT_ALIAS(thseloe0)
#define MIC_WAKE_NODE                   DT_ALIAS(wake0)
#define MIC_ENABLE_NODE					DT_ALIAS(mic0)
#define MIC_OE_NODE						DT_ALIAS(oe0)

#define GPIO0_NODE						DT_NODELABEL(gpio0)
#define GPIO1_NODE						DT_NODELABEL(gpio1)
#define GPIO2_NODE						DT_NODELABEL(gpio2)
#define SPI_NODE						DT_NODELABEL(spi20)
#define I2S_NODE						DT_NODELABEL(i2s20)

extern FATFS main_fat_fs;
extern struct fs_mount_t main_mp;

enum main_state {
	ST_INIT 		= 0x00,
	ST_WAIT_SD_CARD = 0x01,
	ST_IDLE 		= 0x02,
	ST_RECORDING 	= 0x03,
	ST_SAVING		= 0x04,
	ST_DISK_FULL	= 0x05,
	ST_LOW_BATT 	= 0x06,
	ST_POWER_SAVING	= 0x07,
	ST_ERROR 		= 0xff
};

extern bool is_sd_gpio_set;
extern bool is_collar_burn_gpio_set;
extern bool is_low_batt_detected;
extern bool ble_open_collar_cmd_received;
extern bool is_saving_enable;

extern struct gpio_dt_spec sd_gpio;

extern struct k_sem low_energy_mode_sem;
extern struct k_sem reset_sem;
extern struct k_sem ble_wakeup_sem;

extern volatile uint8_t main_state 					__attribute__((section(".noinit")));
extern volatile uint8_t total_days_of_records		__attribute__((section(".noinit")));
extern volatile int recorder_file_idx 				__attribute__((section(".noinit")));
extern volatile int proximity_file_idx				__attribute__((section(".noinit")));
extern volatile uint8_t start_day					__attribute__((section(".noinit")));
extern volatile uint8_t start_month					__attribute__((section(".noinit")));
extern volatile uint8_t hot_reset					__attribute__((section(".noinit")));
extern struct timespec hot_reset_ts					__attribute__((section(".noinit")));
extern struct timespec start_time_ts				__attribute__((section(".noinit")));
extern volatile bool must_be_in_power_saving_mode	__attribute__((section(".noinit")));
extern volatile uint32_t flash_device_identifier	__attribute__((section(".noinit")));
extern volatile int      flash_mic_input_gain		__attribute__((section(".noinit")));
extern volatile uint8_t  flash_mic_aad_a_lpf		__attribute__((section(".noinit")));
extern volatile uint8_t  flash_mic_aad_a_th			__attribute__((section(".noinit")));
extern volatile uint8_t  flash_mic_aad_d1_algo		__attribute__((section(".noinit")));
extern volatile uint16_t flash_mic_aad_d1_floor     __attribute__((section(".noinit")));
extern volatile uint16_t flash_mic_aad_d1_rel_pulse __attribute__((section(".noinit")));
extern volatile uint16_t flash_mic_aad_d1_abs_pulse __attribute__((section(".noinit")));
extern volatile uint16_t flash_mic_aad_d1_abs_thr   __attribute__((section(".noinit")));
extern volatile uint8_t  flash_mic_aad_d1_rel_thr   __attribute__((section(".noinit")));

bool open_collar_for_ms(int delay_in_sec);
void set_power_on_sd(bool active);
void set_power_on_mic(bool active);
void enable_output_on_mic(bool active);

void enable_hardware_drivers(void);
void disable_hardware_drivers(void);

void put_device_in_power_save_mode(void);
void system_reset(void);

const char* main_state_to_string(void);


#endif // _MAIN_DEFINE_H_
```

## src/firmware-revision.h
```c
/*
 * Copyright (C) Hes-so VALAIS/WALLIS, HEI Sion, Infotronics.
 * Created by Patrice Rudaz
 * All rights reserved.
 */

/* 
 * +--------------------------------------------------------
 * | Revision | Date       | Author | Brief
 * +----------+------------+--------------------------------
 * |  v2.0.0  | 06.02.2025 |  arey  | Use nRF54L15, T5848 microphone with intelligent audio level detection      
 *                                    to trigger audio saving and implement BLE proximity detection
 * |  v1.2.2  | 02.11.2023 |   rut  | Set advertisement TX power to +3dBm dynamically
 * |  v1.2.1  | 03.10.2023 |   rut  | Added System Reset when stopping recording
 * |  v1.2.0  | 31.08.2023 |   rut  | Added Dynamic mic gain & device ID
 * |  v1.1.0  | 21.08.2023 |   rut  | Added Date and Time of record’s files on SD Card
 * |  v1.0.0  | 08.08.2023 |   rut  | Added Current Time feature
 * |  v0.4.1  | 02.06.2023 |   rut  | Added option to advertise SNES UUID
 * |  v0.4.0  | 02.06.2023 |   rut  | Move from HSS to SNES, added « Nylon Wire Burning » feature
 * |  v0.3.0  | 23.05.2023 |   rut  | Added HSS BLE service
 * |  v0.3.0  | 23.05.2023 |   rut  | Added HSS BLE service
 * |  v0.2.0  | 27.04.2023 |   rut  | Adding double buffering
 * |  v0.1.0  | 20.04.2023 |   rut  | Saving every second
 * +----------+------------+--------------------------------
 */
#ifndef FIRMWARE_REVISION_H
#define FIRMWARE_REVISION_H

// firmware revision
#define FIRMWARE_REVISION                   "2.0.0-SNAPSHOT"
#define FIRMWARE_REVISION_MAJOR             2
#define FIRMWARE_REVISION_MINOR             0
#define FIRMWARE_REVISION_PATCH             0
#define FIRMWARE_REVISION_NUMBER            020000       // This is the firmware revision expressed as an int. Example: 1.2.3 -> 010203

#endif // FIRMWARE_REVISION_H
```
